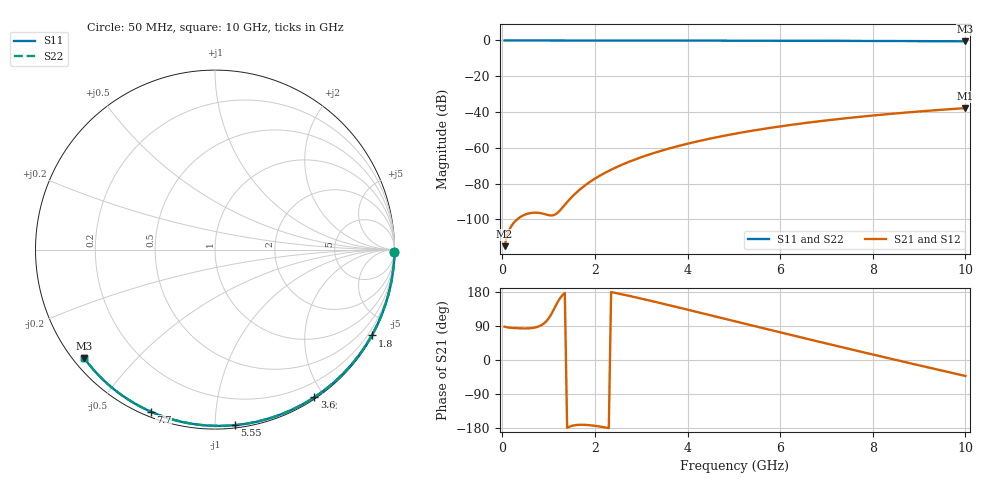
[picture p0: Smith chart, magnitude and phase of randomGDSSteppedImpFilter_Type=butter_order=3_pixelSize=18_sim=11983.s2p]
! freq	dB(S11)	phase(S11)	dB(S12)	phase(S12)
!  dB(S21)	phase(S21)	dB(S22)	phase(S22)
!S-par simulation data
#  GHz  S  DB  R 50
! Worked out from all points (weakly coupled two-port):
!   200 points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, 50 MHz to 10 GHz, reference 50 ohm
!   highest |S21| = -37.82 dB at 10 GHz (marker M1); lowest = -115.0 dB at 50 MHz (marker M2)
!   lowest |S11| = -0.5 dB at 10 GHz (marker M3), VSWR 36.66, Z = 1.54 - j18.1 ohm
!   |S11| at or under -10 dB: nowhere
!   |S22| runs from -0.5 to 0.0 dB; largest |S21 - S12| = 0
!   S11 on the Smith chart (normalised r, x): 50 MHz: open; 1.8 GHz: 0.03, -3.91; 3.6 GHz: 0.02, -1.88; 5.55 GHz: 0.02, -1.12; 7.7 GHz: 0.02, -0.68; 10 GHz: 0.03, -0.36
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0.05  -0.00 -0.8  -114.99 87.9  -114.99 87.9  -0.00 -0.8
0.45  -0.01 -7.3  -97.82 83.3  -97.82 83.3  -0.01 -7.3
0.9  -0.02 -14.5  -96.96 96.5  -96.96 96.5  -0.02 -14.5
1.75  -0.04 -27.9  -81.75 -170.9  -81.75 -170.9  -0.04 -27.9
1.8  -0.04 -28.7  -80.76 -171.2  -80.76 -171.2  -0.04 -28.7
1.85  -0.04 -29.5  -79.82 -171.6  -79.82 -171.6  -0.04 -29.5
2  -0.04 -31.8  -77.24 -173.6  -77.24 -173.6  -0.04 -31.8
2.15  -0.04 -34.2  -74.95 -176.4  -74.95 -176.4  -0.04 -34.2
2.35  -0.05 -37.2  -72.24 179.2  -72.24 179.2  -0.05 -37.2
2.55  -0.05 -40.3  -69.84 174.2  -69.84 174.2  -0.05 -40.3
2.95  -0.06 -46.4  -65.73 163.4  -65.73 163.4  -0.06 -46.4
3.4  -0.07 -53.1  -61.91 150.6  -61.91 150.6  -0.07 -53.1
3.6  -0.08 -56.1  -60.41 144.7  -60.41 144.7  -0.08 -56.1
4.3  -0.09 -66.2  -55.91 123.9  -55.91 123.9  -0.09 -66.2
5.05  -0.12 -76.8  -52.01 101.4  -52.01 101.4  -0.12 -76.8
5.55  -0.14 -83.7  -49.81 86.4  -49.81 86.4  -0.14 -83.7
6.1  -0.16 -91.0  -47.67 70.1  -47.67 70.1  -0.16 -91.0
6.7  -0.19 -98.9  -45.62 52.3  -45.62 52.3  -0.19 -98.9
7.7  -0.26 -111.7  -42.72 23.1  -42.72 23.1  -0.26 -111.7
8.35  -0.31 -119.8  -41.12 4.4  -41.12 4.4  -0.31 -119.9
9.2  -0.39 -130.3  -39.29 -19.7  -39.29 -19.7  -0.39 -130.4
10  -0.47 -140.2  -37.82 -42.2  -37.82 -42.2  -0.47 -140.2
